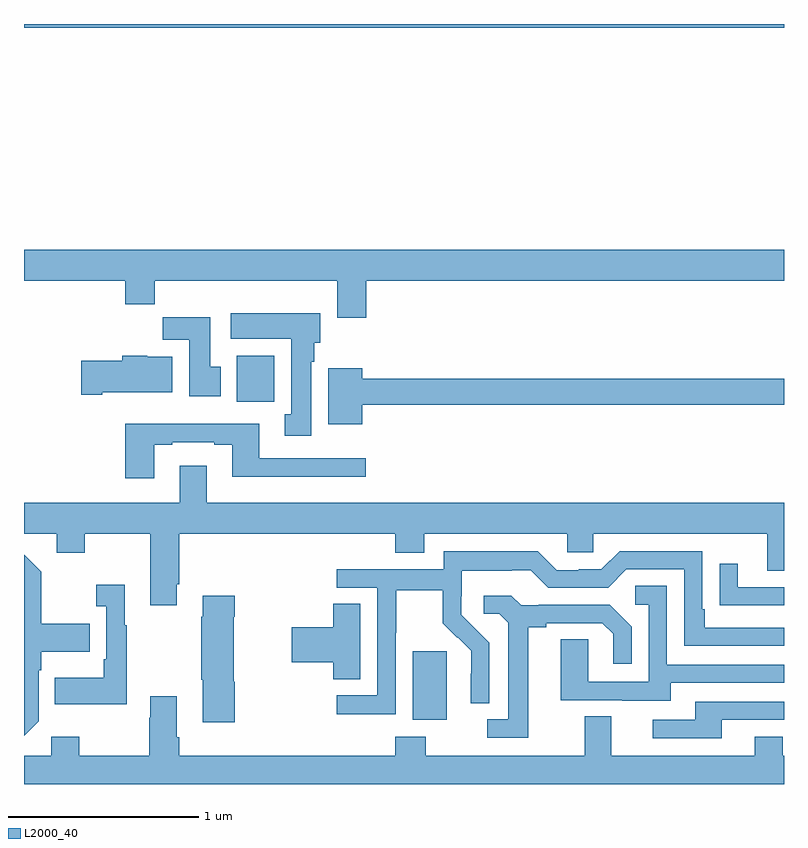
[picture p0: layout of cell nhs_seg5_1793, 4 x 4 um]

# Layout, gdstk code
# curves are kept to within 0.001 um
import gdstk
lib = gdstk.Library(unit=1e-6, precision=1e-09)
def R(c, l, rs):  # rectangles x0, y0, x1, y1
    for r in rs: c.add(gdstk.rectangle(r[:2], r[2:], *l))
def P(c, l, *ps):  # polygons
    for p in ps: c.add(gdstk.Polygon(p, *l))
L2000_40 = (2000, 40)

nhs_seg5_1793 = lib.new_cell('nhs_seg5_1793')
R(nhs_seg5_1793, L2000_40, [(221.045,833.138,221.224,833.499), (220.121,834.812,220.318,835.054), (219,836.78,223,836.799)])
P(nhs_seg5_1793, L2000_40, [(220.802,835.448),(223,835.448),(223,835.612),(219,835.612),(219,835.448),(219.533,835.448),(219.533,835.324),(219.689,835.324),(219.689,835.448),(220.649,835.448),(220.649,835.254),(220.802,835.254)],
  [(220.513,835.022),(220.528,835.022),(220.528,835.122),(220.558,835.122),(220.558,835.276),(220.089,835.276),(220.089,835.142),(220.406,835.142),(220.406,834.746),(220.373,834.746),(220.373,834.633),(220.513,834.633)],
  [(220.036,834.996),(219.979,834.996),(219.979,835.255),(219.73,835.255),(219.73,835.136),(219.869,835.136),(219.869,834.84),(220.036,834.84)],
  [(219.412,834.86),(219.781,834.86),(219.781,835.048),(219.648,835.048),(219.648,835.054),(219.518,835.054),(219.518,835.026),(219.3,835.026),(219.3,834.848),(219.412,834.848)],
  [(220.78,834.796),(223,834.796),(223,834.932),(220.78,834.932),(220.78,834.988),(220.601,834.988),(220.601,834.692),(220.78,834.692)],
  [(219.685,834.585),(219.781,834.585),(219.781,834.597),(220.001,834.597),(220.001,834.585),(220.097,834.585),(220.097,834.416),(220.798,834.416),(220.798,834.513),(220.237,834.513),(220.237,834.694),(219.533,834.694),(219.533,834.408),(219.685,834.408)],
  [(219.805,833.851),(219.818,833.851),(219.818,834.116),(220.955,834.116),(220.955,834.017),(221.107,834.017),(221.107,834.116),(221.859,834.116),(221.859,834.018),(221.997,834.018),(221.997,834.116),(222.911,834.116),(222.911,833.922),(223,833.922),(223,834.28),(219.961,834.28),(219.961,834.475),(219.821,834.475),(219.821,834.28),(219,834.28),(219,834.116),(219.173,834.116),(219.173,834.017),(219.321,834.017),(219.321,834.116),(219.665,834.116),(219.665,833.739),(219.805,833.739)],
  [(220.956,833.596),(220.959,833.596),(220.959,833.82),(221.203,833.82),(221.203,833.645),(221.28,833.568),(221.283,833.571),(221.354,833.501),(221.354,833.378),(221.352,833.378),(221.352,833.224),(221.448,833.224),(221.448,833.542),(221.302,833.69),(221.302,833.787),(221.304,833.787),(221.304,833.921),(221.567,833.921),(221.567,833.925),(221.667,833.925),(221.76,833.832),(222.075,833.832),(222.171,833.928),(222.474,833.928),(222.474,833.526),(223,833.526),(223,833.622),(222.583,833.622),(222.583,833.719),(222.57,833.719),(222.57,834.024),(222.135,834.024),(222.039,833.928),(221.921,833.928),(221.921,833.925),(221.805,833.925),(221.705,834.025),(221.208,834.025),(221.208,833.928),(220.647,833.928),(220.647,833.832),(220.86,833.832),(220.86,833.265),(220.647,833.265),(220.647,833.167),(220.956,833.167)],
  [(219.078,833.13),(219.078,833.399),(219.091,833.399),(219.091,833.495),(219.347,833.495),(219.347,833.643),(219.091,833.643),(219.091,833.915),(219,834.006),(219,833.052)],
  [(223,833.835),(222.757,833.835),(222.757,833.959),(222.661,833.959),(222.661,833.74),(222.763,833.74),(222.763,833.739),(223,833.739)],
  [(219.541,833.635),(219.529,833.635),(219.529,833.848),(219.381,833.848),(219.381,833.735),(219.432,833.735),(219.432,833.455),(219.42,833.455),(219.42,833.359),(219.163,833.359),(219.163,833.219),(219.541,833.219)],
  [(222.403,833.331),(223,833.331),(223,833.427),(222.384,833.427),(222.384,833.843),(222.216,833.843),(222.216,833.742),(222.288,833.742),(222.288,833.337),(221.97,833.337),(221.97,833.561),(221.825,833.561),(221.825,833.241),(222.149,833.241),(222.149,833.237),(222.403,833.237)],
  [(221.653,833.624),(221.749,833.624),(221.749,833.646),(222.044,833.646),(222.101,833.589),(222.101,833.433),(222.198,833.433),(222.198,833.626),(222.082,833.742),(221.71,833.742),(221.71,833.739),(221.616,833.739),(221.564,833.791),(221.421,833.791),(221.421,833.694),(221.502,833.694),(221.549,833.647),(221.549,833.139),(221.439,833.139),(221.439,833.043),(221.653,833.043)],
  [(220.109,833.336),(220.104,833.336),(220.104,833.678),(220.109,833.678),(220.109,833.791),(219.941,833.791),(219.941,833.678),(219.934,833.678),(219.934,833.347),(219.941,833.347),(219.941,833.124),(220.109,833.124)],
  [(220.771,833.747),(220.628,833.747),(220.628,833.624),(220.41,833.624),(220.41,833.441),(220.628,833.441),(220.628,833.35),(220.771,833.35)],
  [(223,832.948),(222.993,832.948),(222.993,833.047),(222.845,833.047),(222.845,832.948),(222.091,832.948),(222.091,833.156),(221.951,833.156),(221.951,832.948),(221.115,832.948),(221.115,833.047),(220.955,833.047),(220.955,832.948),(219.818,832.948),(219.818,833.044),(219.805,833.044),(219.805,833.26),(219.665,833.26),(219.665,833.147),(219.658,833.147),(219.658,832.948),(219.291,832.948),(219.291,833.047),(219.144,833.047),(219.144,832.948),(219,832.948),(219,832.799),(223,832.799)],
  [(222.673,833.136),(223,833.136),(223,833.232),(222.533,833.232),(222.533,833.136),(222.309,833.136),(222.309,833.04),(222.673,833.04)])

lib.write_gds('nhs_seg5_1793.gds')
